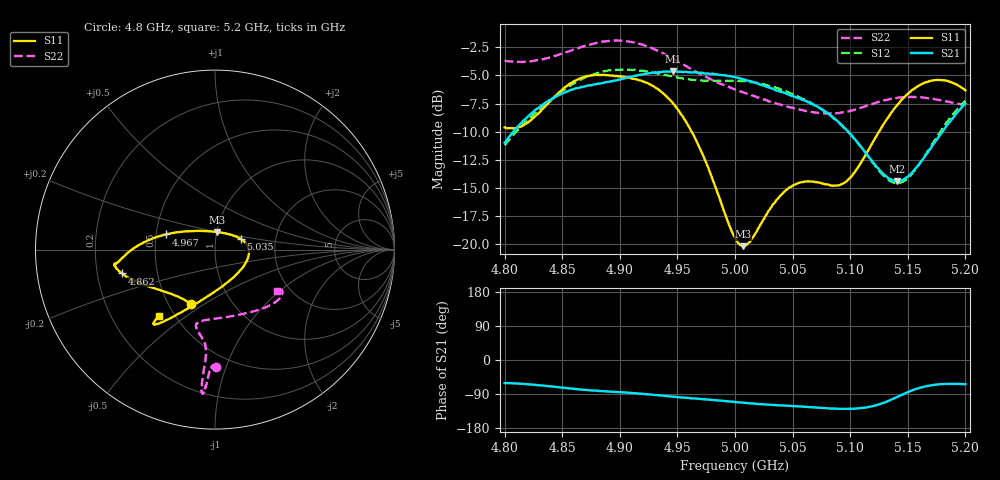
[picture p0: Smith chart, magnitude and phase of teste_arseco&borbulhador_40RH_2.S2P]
! Network Analyzer HP8722D
! Hewlett-Packard
! Data name: Linha & Wilkinson
! Saver's name: Rodrigo Anjos
! Comments: Teste da utilização de aquisição
! continua pelo VNA HP8722D
! Time and date: 15/4/2025 16:22
!  Frequency  S11  S21  S12  S22
# HZ  S  MA R 50
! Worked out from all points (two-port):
!   401 points, 4.8 GHz to 5.2 GHz, reference 50 ohm
!   highest |S21| = -4.63 dB at 4.946 GHz (marker M1); lowest = -14.4 dB at 5.141 GHz (marker M2)
!   |S21| within 3 dB of the highest: 4.832 GHz to 5.069 GHz (236.8 MHz wide, 4.78 % of centre); 5.198516 GHz to end of sweep
!   lowest |S11| = -20.2 dB at 5.007 GHz (marker M3), VSWR 1.22, Z = 50.1 + j9.87 ohm
!   |S11| at or under -10 dB: 4.962 GHz to 5.125 GHz (162.6 MHz wide, 3.22 % of centre)
!   |S22| runs from -8.4 to -1.9 dB; largest |S21 - S12| = 0.88
!   S11 on the Smith chart (normalised r, x): 4.8 GHz: 0.65, -0.44; 4.862 GHz: 0.31, -0.11; 4.967 GHz: 0.57, +0.10; 5.035 GHz: 1.32, +0.16; 5.2 GHz: 0.41, -0.40
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4.8e9  0.3306 -113.7  0.2825 -61.0  0.2755 -175.0  0.6537 -89.5
4.819e9  0.3447 -133.6  0.3645 -63.7  0.3526 -173.4  0.6489 -91.1
4.862e9  0.5357 -165.6  0.494 -76.7  0.5256 -176.3  0.7397 -93.5
4.867e9  0.5497 -167.6  0.4998 -78.1  0.542 -177.3  0.754 -93.7
4.9e9  0.5583 -172.2  0.5391 -84.9  0.5958 175.9  0.8038 -95.0
4.934e9  0.4854 -178.1  0.5827 -93.4  0.5738 171.9  0.7193 -95.5
4.946e9  0.4239 176.5  0.5865 -96.8  0.5557 172.1  0.6698 -95.3
4.967e9  0.2842 162.7  0.5791 -101.9  0.5349 174.0  0.5806 -94.9
5e9  0.1073 107.1  0.5523 -110.9  0.5343 176.4  0.4876 -99.1
5.007e9  0.09813 83.6  0.5415 -112.6  0.5305 176.3  0.4732 -100.9
5.015e9  0.1066 58.8  0.5264 -114.6  0.5238 176.1  0.4581 -102.5
5.035e9  0.1544 22.8  0.485 -118.9  0.4976 175.1  0.4232 -103.8
5.05e9  0.1824 7.1  0.4564 -121.6  0.4646 174.5  0.4045 -100.3
5.067e9  0.1901 -11.4  0.421 -124.6  0.422 174.0  0.3867 -91.8
5.086e9  0.1822 -41.7  0.3643 -128.3  0.3607 173.7  0.3817 -77.8
5.097e9  0.1908 -64.8  0.3215 -129.0  0.3203 174.4  0.3881 -68.5
5.134e9  0.373 -116.0  0.1957 -107.0  0.192 -159.7  0.4416 -43.4
5.141e9  0.4163 -120.1  0.1905 -97.2  0.1873 -148.9  0.4475 -40.2
5.152e9  0.4754 -124.5  0.2045 -82.2  0.2012 -131.4  0.4515 -36.2
5.17e9  0.5323 -128.5  0.2673 -66.8  0.2724 -113.1  0.4441 -32.0
5.184e9  0.5323 -129.9  0.3378 -63.1  0.3489 -107.2  0.4312 -31.1
5.2e9  0.4827 -130.4  0.4227 -64.0  0.4344 -106.1  0.415 -33.4
